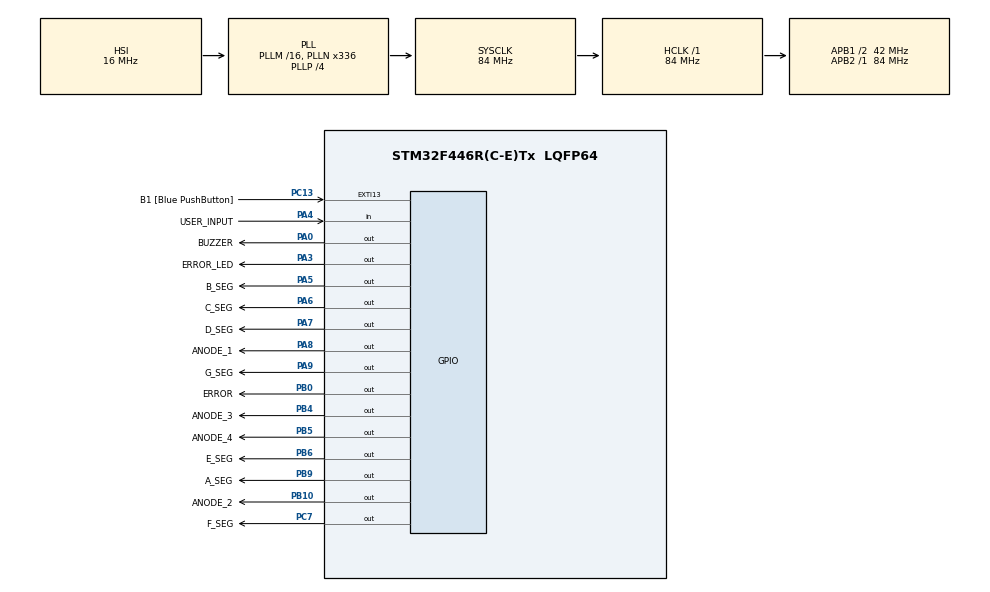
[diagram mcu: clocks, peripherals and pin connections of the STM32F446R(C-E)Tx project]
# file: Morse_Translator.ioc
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Mcu.Family=STM32F4
Mcu.Name=STM32F446R(C-E)Tx
Mcu.Package=LQFP64
NVIC.PriorityGroup=NVIC_PRIORITYGROUP_0
NVIC.TIM6_DAC_IRQn=true\:0\:0\:false\:false\:true\:true\:true
PA0-WKUP.GPIO_Label=BUZZER
PA0-WKUP.GPIO_ModeDefaultOutputPP=GPIO_MODE_OUTPUT_PP
PA0-WKUP.Signal=GPIO_Output
PA13.GPIO_Label=TMS
PA13.Mode=Serial_Wire
PA13.Signal=SYS_JTMS-SWDIO
PA14.GPIO_Label=TCK
PA14.Mode=Serial_Wire
PA14.Signal=SYS_JTCK-SWCLK
PA3.GPIO_Label=ERROR_LED
PA3.Signal=GPIO_Output
PA4.GPIO_Label=USER_INPUT
PA4.Signal=GPIO_Input
PA5.GPIO_Label=B_SEG
PA5.Signal=GPIO_Output
PA6.GPIO_Label=C_SEG
PA6.Signal=GPIO_Output
PA7.GPIO_Label=D_SEG
PA7.Signal=GPIO_Output
PA8.GPIO_Label=ANODE_1
PA8.Signal=GPIO_Output
PA9.GPIO_Label=G_SEG
PA9.Signal=GPIO_Output
PB0.GPIO_Label=ERROR
PB0.Signal=GPIO_Output
PB10.GPIO_Label=ANODE_2
PB10.Signal=GPIO_Output
PB3.GPIO_Label=SWO
PB3.Signal=SYS_JTDO-SWO
PB4.GPIO_Label=ANODE_3
PB4.Signal=GPIO_Output
PB5.GPIO_Label=ANODE_4
PB5.Signal=GPIO_Output
PB6.GPIO_Label=E_SEG
PB6.Signal=GPIO_Output
PB9.GPIO_Label=A_SEG
PB9.Signal=GPIO_Output
PC13.GPIO_Label=B1 [Blue PushButton]
PC13.GPIO_ModeDefaultEXTI=GPIO_MODE_IT_FALLING
PC13.Signal=GPXTI13
PC14-OSC32_IN.Mode=LSE-External-Oscillator
PC14-OSC32_IN.Signal=RCC_OSC32_IN
PC15-OSC32_OUT.Mode=LSE-External-Oscillator
PC15-OSC32_OUT.Signal=RCC_OSC32_OUT
PC7.GPIO_Label=F_SEG
PC7.Signal=GPIO_Output
PH0-OSC_IN.Mode=HSE-External-Oscillator
PH0-OSC_IN.Signal=RCC_OSC_IN
PH1-OSC_OUT.Mode=HSE-External-Oscillator
PH1-OSC_OUT.Signal=RCC_OSC_OUT
ProjectManager.HeapSize=0x200
ProjectManager.StackSize=0x400
ProjectManager.TargetToolchain=STM32CubeIDE
RCC.48MHZClocksFreq_Value=84000000
RCC.AHBFreq_Value=84000000
RCC.APB1CLKDivider=RCC_HCLK_DIV2
RCC.APB1Freq_Value=42000000
RCC.APB1TimFreq_Value=84000000
RCC.APB2Freq_Value=84000000
RCC.APB2TimFreq_Value=84000000
RCC.CortexFreq_Value=84000000
RCC.FLatency-AdvancedSettings=FLASH_LATENCY_2
RCC.HCLKFreq_Value=84000000
RCC.HSE_VALUE=8000000
RCC.HSI_VALUE=16000000
RCC.PLLN=336
RCC.PLLP=RCC_PLLP_DIV4
RCC.SYSCLKFreq_VALUE=84000000
RCC.SYSCLKSource=RCC_SYSCLKSOURCE_PLLCLK
RCC.USBFreq_Value=168000000
RCC.VCOOutputFreq_Value=336000000
TIM6.Period=8399
TIM6.Prescaler=19999
VP_TIM6_VS_ClockSourceINT.Mode=Enable_Timer
board=NUCLEO-F446RE

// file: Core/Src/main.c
/* USER CODE BEGIN Header */
/**
  ******************************************************************************
  * @file           : main.c
  * @brief          : Main program body
  ******************************************************************************
  * @attention
  *
  * <h2><center>&copy; Copyright (c) 2020 STMicroelectronics.
  * All rights reserved.</center></h2>
  *
  * This software component is licensed by ST under BSD 3-Clause license,
  * the "License"; You may not use this file except in compliance with the
  * License. You may obtain a copy of the License at:
  *                        opensource.org/licenses/BSD-3-Clause
  *
  ******************************************************************************
  */
/* USER CODE END Header */

#include "main.h"
#include "tim.h"
#include "gpio.h"

/* USER CODE BEGIN Includes */
#include<stdio.h>
/* USER CODE END Includes */

/* USER CODE BEGIN PV */
uint8_t morse_word [5]= {99,99,99,99,99};
uint8_t signal_counter = 0;
uint8_t error_flag = 0;
uint8_t display_flag = 0;
/* USER CODE END PV */

void SystemClock_Config(void);

/* USER CODE BEGIN PFP */
void anode_handler();
void error_handler();
void input_handler();
/* USER CODE END PFP */

/* USER CODE BEGIN 0 */
void anode_handler(){
	static uint8_t display_counter = 1;
	static uint8_t init_var = 1;
	if(init_var){
		HAL_GPIO_WritePin(ANODE_1_GPIO_Port, ANODE_1_Pin, GPIO_PIN_SET);
		HAL_GPIO_WritePin(ANODE_2_GPIO_Port, ANODE_2_Pin, GPIO_PIN_SET);
		HAL_GPIO_WritePin(ANODE_3_GPIO_Port, ANODE_3_Pin, GPIO_PIN_SET);
		HAL_GPIO_WritePin(ANODE_4_GPIO_Port, ANODE_4_Pin, GPIO_PIN_SET);
		init_var = 0;
	}
	if(display_counter == 1){
		HAL_GPIO_WritePin(ANODE_1_GPIO_Port, ANODE_1_Pin, GPIO_PIN_RESET);
		HAL_GPIO_WritePin(ANODE_4_GPIO_Port, ANODE_4_Pin, GPIO_PIN_SET);
	}
	if(display_counter == 2){
		HAL_GPIO_WritePin(ANODE_1_GPIO_Port, ANODE_1_Pin, GPIO_PIN_SET);
		HAL_GPIO_WritePin(ANODE_2_GPIO_Port, ANODE_2_Pin, GPIO_PIN_RESET);
	}
	if(display_counter == 3){
		HAL_GPIO_WritePin(ANODE_2_GPIO_Port, ANODE_2_Pin, GPIO_PIN_SET);
		HAL_GPIO_WritePin(ANODE_3_GPIO_Port, ANODE_3_Pin, GPIO_PIN_RESET);
	}
	if(display_counter == 4){
		HAL_GPIO_WritePin(ANODE_3_GPIO_Port, ANODE_3_Pin, GPIO_PIN_SET);
		HAL_GPIO_WritePin(ANODE_4_GPIO_Port, ANODE_4_Pin, GPIO_PIN_RESET);
	}
	display_counter++;
	if(display_counter > 4)
		display_counter = 1;
	display_flag = 0;
	return;
}

void error_handler(){
	HAL_GPIO_WritePin(ERROR_GPIO_Port, ERROR_Pin, GPIO_PIN_SET);
	HAL_GPIO_WritePin(BUZZER_GPIO_Port, BUZZER_Pin, GPIO_PIN_SET);
	HAL_Delay(1000);
	HAL_GPIO_WritePin(ERROR_GPIO_Port, ERROR_Pin, GPIO_PIN_RESET);
	HAL_GPIO_WritePin(BUZZER_GPIO_Port, BUZZER_Pin, GPIO_PIN_RESET);
	error_flag = 0;
}

void input_handler(){
	HAL_TIM_Base_Stop_IT(&htim6);
	uint32_t t1 = HAL_GetTick();
	HAL_GPIO_WritePin(BUZZER_GPIO_Port, BUZZER_Pin, GPIO_PIN_SET);
	while(HAL_GPIO_ReadPin(USER_INPUT_GPIO_Port, USER_INPUT_Pin)){
		  continue;
	}
	HAL_GPIO_WritePin(BUZZER_GPIO_Port, BUZZER_Pin, GPIO_PIN_RESET);
	uint32_t t2 = HAL_GetTick();
	uint32_t dt = t2 - t1;
	if(dt > 300){
		  morse_word[signal_counter] = 1;
	}
	else{
		  morse_word[signal_counter] = 0;
	}
	signal_counter++;
	 __HAL_TIM_SET_COUNTER(&htim6, 0);
	HAL_TIM_Base_Start_IT(&htim6);
}
/* USER CODE END 0 */

int main(void)
{

  /* MCU Configuration--------------------------------------------------------*/

  /* Reset of all peripherals, Initializes the Flash interface and the Systick. */
  HAL_Init();

  /* Configure the system clock */
  SystemClock_Config();

  /* Initialize all configured peripherals */
  MX_GPIO_Init();
  MX_TIM6_Init();
  /* USER CODE BEGIN 2 */
  HAL_TIM_Base_Start_IT(&htim6);
  /* USER CODE END 2 */

  /* Infinite loop */
  /* USER CODE BEGIN WHILE */
  while (1)
  {
	  if(error_flag){
		  error_handler();
	  }
	  if(display_flag){
		  anode_handler();
	  }
	  if(HAL_GPIO_ReadPin(USER_INPUT_GPIO_Port, USER_INPUT_Pin)){
		  input_handler();
	  }

  }

    /* USER CODE END WHILE */

}

void SystemClock_Config(void)
{
  RCC_OscInitTypeDef RCC_OscInitStruct = {0};
  RCC_ClkInitTypeDef RCC_ClkInitStruct = {0};

  /** Configure the main internal regulator output voltage
  */
  __HAL_RCC_PWR_CLK_ENABLE();
  __HAL_PWR_VOLTAGESCALING_CONFIG(PWR_REGULATOR_VOLTAGE_SCALE3);
  /** Initializes the CPU, AHB and APB busses clocks
  */
  RCC_OscInitStruct.OscillatorType = RCC_OSCILLATORTYPE_HSI;
  RCC_OscInitStruct.HSIState = RCC_HSI_ON;
  RCC_OscInitStruct.HSICalibrationValue = RCC_HSICALIBRATION_DEFAULT;
  RCC_OscInitStruct.PLL.PLLState = RCC_PLL_ON;
  RCC_OscInitStruct.PLL.PLLSource = RCC_PLLSOURCE_HSI;
  RCC_OscInitStruct.PLL.PLLM = 16;
  RCC_OscInitStruct.PLL.PLLN = 336;
  RCC_OscInitStruct.PLL.PLLP = RCC_PLLP_DIV4;
  RCC_OscInitStruct.PLL.PLLQ = 2;
  RCC_OscInitStruct.PLL.PLLR = 2;
  if (HAL_RCC_OscConfig(&RCC_OscInitStruct) != HAL_OK)
  {
    Error_Handler();
  }
  /** Initializes the CPU, AHB and APB busses clocks
  */
  RCC_ClkInitStruct.ClockType = RCC_CLOCKTYPE_HCLK|RCC_CLOCKTYPE_SYSCLK
                              |RCC_CLOCKTYPE_PCLK1|RCC_CLOCKTYPE_PCLK2;
  RCC_ClkInitStruct.SYSCLKSource = RCC_SYSCLKSOURCE_PLLCLK;
  RCC_ClkInitStruct.AHBCLKDivider = RCC_SYSCLK_DIV1;
  RCC_ClkInitStruct.APB1CLKDivider = RCC_HCLK_DIV2;
  RCC_ClkInitStruct.APB2CLKDivider = RCC_HCLK_DIV1;

  if (HAL_RCC_ClockConfig(&RCC_ClkInitStruct, FLASH_LATENCY_2) != HAL_OK)
  {
    Error_Handler();
  }
}

void Error_Handler(void)
{
}

/************************ (C) COPYRIGHT STMicroelectronics *****END OF FILE****/
